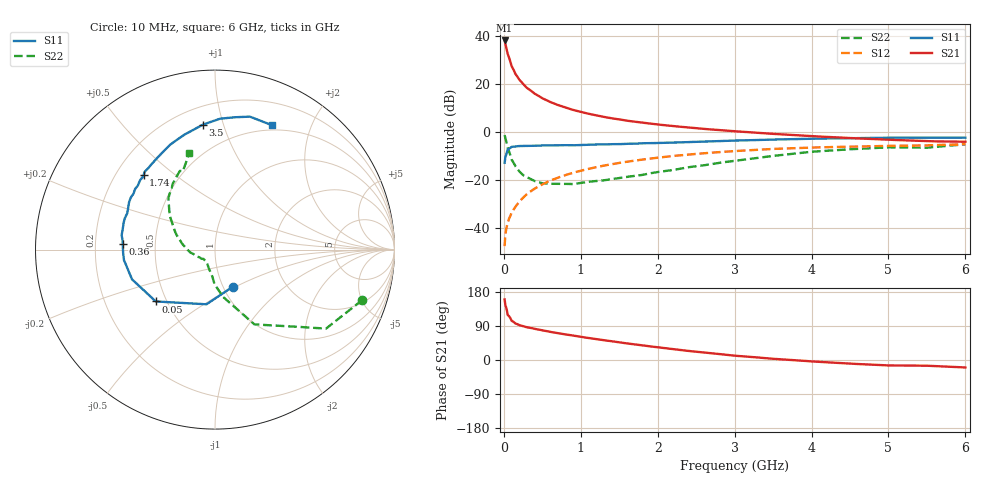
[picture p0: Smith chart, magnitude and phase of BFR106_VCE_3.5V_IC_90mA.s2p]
! Infineon Technologies  Discrete & RF Semiconductors
! BFR106
! VCE =  3.5 V,  IC =  90 mA
! Common Emitter S-Parameters:  Nov 2015
# GHz  S  MA  R  50
!  f  S11  S21  S12  S22
! GHz  MAG  ANG  MAG  ANG  MAG  ANG  MAG  ANG
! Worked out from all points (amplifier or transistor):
!   210 points, 10 MHz to 6 GHz, reference 50 ohm
!   highest |S21| = 38.3 dB at 10 MHz (marker M1)
!   |S21| within 3 dB of that: start of sweep to 32.16 MHz
!   unconditionally stable (mu >= 1): 178.2 MHz to 2.486 GHz; 5.443 GHz to end of sweep
!   at 185 MHz: K = 1.01, MAG = 25.8 dB, |S12| = -29.8 dB
!   at 1.52 GHz: K = 1.06, MAG = 7.6 dB, |S12| = -12.8 dB
!   at 6 GHz: K = 1.00, MAG = 0.3 dB, |S12| = -5.1 dB
!   S11 on the Smith chart (normalised r, x): 10 MHz: 1.11, -0.48; 50 MHz: 0.44, -0.31; 360 MHz: 0.32, +0.03; 1.74 GHz: 0.31, +0.39; 3.5 GHz: 0.31, +0.85; 6 GHz: 0.44, +1.47
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0.01  0.2292 -64.2  82.62 159.9  0.0041 78.1  0.8664 -19.0
0.02  0.3084 -98.9  70.99 144.5  0.0073 70.5  0.7594 -35.4
0.05  0.4385 -138.8  43.19 119.0  0.0127 63.4  0.4707 -62.2
0.1  0.4912 -160.3  24.21 103.7  0.0202 66.1  0.268 -80.2
0.15  0.5007 -169.3  16.5 96.4  0.0272 68.3  0.1932 -90.7
0.2  0.5104 -173.3  12.54 92.2  0.0348 71.5  0.1511 -95.6
0.24  0.5117 -176.6  10.55 89.6  0.0408 72.6  0.1302 -100.7
0.3  0.5129 179.5  8.403 86.4  0.0502 74.0  0.1137 -106.8
0.36  0.5149 176.5  7.177 84.2  0.0593 73.9  0.102 -111.5
0.4  0.5171 174.5  6.368 82.2  0.0654 73.8  0.0947 -115.3
0.5  0.5261 171.2  5.108 78.2  0.0802 73.6  0.0849 -121.7
0.6  0.5268 167.3  4.283 74.4  0.0959 72.6  0.0828 -126.0
0.8  0.532 160.9  3.252 67.6  0.1257 70.3  0.0824 -136.9
1.02  0.5389 153.6  2.594 60.6  0.1582 67.2  0.0872 -143.9
1.3  0.5506 145.6  2.078 52.2  0.1985 62.9  0.0979 -154.4
1.74  0.5758 133.6  1.619 40.2  0.2578 56.0  0.1234 -168.8
2.02  0.5917 127.1  1.431 33.1  0.2936 51.5  0.1475 -177.4
3.1  0.6694 102.7  1.016 9.9  0.4088 34.1  0.262 151.8
3.5  0.6986 95.7  0.918 3.2  0.4441 28.1  0.3172 142.9
4.1  0.7324 86.5  0.807 -4.8  0.4798 19.1  0.3963 130.0
5.1  0.7641 74.1  0.682 -14.5  0.518 6.8  0.4785 113.7
6  0.7633 65.3  0.628 -19.7  0.5584 -2.6  0.5558 104.9
